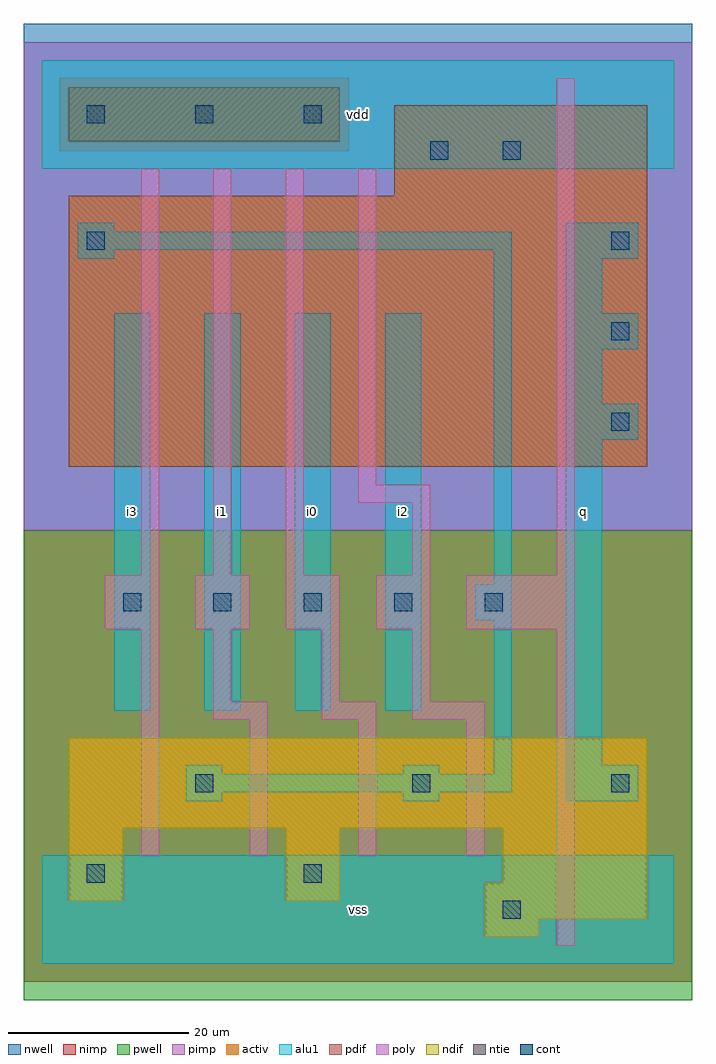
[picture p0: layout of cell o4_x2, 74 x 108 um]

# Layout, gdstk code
import gdstk
lib = gdstk.Library(unit=1e-6, precision=1e-09)
def R(c, l, rs):  # rectangles x0, y0, x1, y1
    for r in rs: c.add(gdstk.rectangle(r[:2], r[2:], *l))
def A(c, l, x, y, w, h, nx, ny, dx, dy):  # array of equal rectangles
    R(c, l, [(x+i*dx, y+j*dy, x+i*dx+w, y+j*dy+h) for i in range(nx) for j in range(ny)])
ndif = (3, 0)
pdif = (4, 0)
ntie = (5, 0)
cont = (25, 0)
pwell = (41, 0)
nwell = (42, 0)
activ = (43, 0)
pimp = (44, 0)
nimp = (45, 0)
poly = (46, 0)
alu1 = (49, 0)

o4_x2 = lib.new_cell('o4_x2')
R(o4_x2, ndif, [(49,3,55,5), (49,5,67,9), (3,7,9,15), (27,7,33,15), (51,9,67,15), (3,15,67,25)])
R(o4_x2, pdif, [(3,55,67,85), (39,85,67,95)])
R(o4_x2, ntie, [(3,91,33,97)])
A(o4_x2, cont, 9, 39, 2, 2, 5, 1, 10, 0)
A(o4_x2, cont, 63, 59, 2, 2, 1, 3, 0, 10)
A(o4_x2, cont, 5, 93, 2, 2, 3, 1, 12, 0)
R(o4_x2, cont, [(51,5,53,7), (5,9,7,11), (29,9,31,11), (17,19,19,21), (41,19,43,21), (63,19,65,21), (5,79,7,81), (43,89,45,91), (51,89,53,91)])
R(o4_x2, pwell, [(-2,-4,72,48)])
R(o4_x2, nwell, [(-2,48,72,104)])
R(o4_x2, activ, [(49,3,55,5), (49,5,67,9), (3,7,9,15), (27,7,33,15), (51,9,67,15), (3,15,67,25), (3,55,67,85), (39,85,67,95), (3,91,33,97)])
R(o4_x2, pimp, [(-2,48,72,90), (-2,90,2,98), (34,90,72,98), (-2,98,72,102)])
R(o4_x2, nimp, [(-2,-2,72,48), (2,90,34,98)])
A(o4_x2, poly, 23, 12, 2, 15, 3, 1, 12, 0)
A(o4_x2, poly, 7, 37, 6, 6, 4, 1, 10, 0)
A(o4_x2, poly, 11, 43, 2, 45, 3, 1, 8, 0)
R(o4_x2, poly, [(57,2,59,37), (11,12,13,37), (19,27,25,29), (31,27,37,29), (41,27,49,29), (19,29,21,37), (31,29,33,37), (41,29,43,37), (47,37,59,43), (41,43,43,51), (57,43,59,98), (35,51,43,53), (35,53,37,88)])
A(o4_x2, alu1, 8, 28, 4, 44, 4, 1, 10, 0)
A(o4_x2, alu1, 58, 58, 8, 4, 1, 3, 0, 10)
R(o4_x2, alu1, [(0,0,70,12), (16,18,20,19), (40,18,44,19), (58,18,66,22), (16,19,52,21), (16,21,20,22), (40,21,44,22), (50,21,52,38), (58,22,62,58), (48,38,52,42), (50,42,52,79), (58,62,62,68), (58,72,62,78), (4,78,8,79), (4,79,52,81), (4,81,8,82), (0,88,70,100)])
o4_x2.add(gdstk.Label('i3', (10,50), layer=49, texttype=0))
o4_x2.add(gdstk.Label('i0', (30,50), layer=49, texttype=0))
o4_x2.add(gdstk.Label('i1', (20,50), layer=49, texttype=0))
o4_x2.add(gdstk.Label('vss', (35,6), layer=49, texttype=0))
o4_x2.add(gdstk.Label('i2', (40,50), layer=49, texttype=0))
o4_x2.add(gdstk.Label('vdd', (35,94), layer=49, texttype=0))
o4_x2.add(gdstk.Label('q', (60,50), layer=49, texttype=0))

lib.write_gds('o4_x2.gds')
